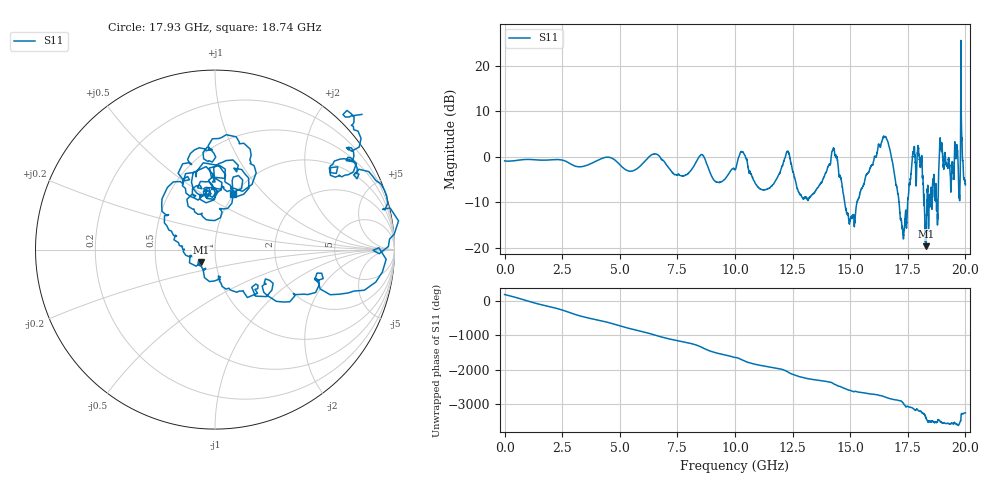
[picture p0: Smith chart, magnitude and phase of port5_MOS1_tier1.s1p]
! Created with skrf 1.8.0 (http://scikit-rf.org).
# GHz S RI R 50.0
!freq ReS11 ImS11
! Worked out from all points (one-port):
!   10001 points, 1 MHz to 20 GHz, reference 50 ohm
!   lowest |S11| = -19.6 dB at 18.28 GHz (marker M1), VSWR 1.23, Z = 42.4 - j5.99 ohm
!   |S11| at or under -10 dB: 14.76 GHz to 15.29 GHz (528.8 MHz wide, 3.52 % of centre); 17.12 GHz to 17.49 GHz (373.1 MHz wide, 2.16 % of centre); 18.22 GHz to 18.33 GHz (113.4 MHz wide, 0.621 % of centre) (the widest 3 of 16)
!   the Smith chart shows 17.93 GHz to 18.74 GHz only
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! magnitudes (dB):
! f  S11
! 1 MHz  -0.9
! 2.501 GHz  -0.7
! 5.001 GHz  -1.7
! 6.563 GHz  0.7
! 7.501 GHz  -4.0
! 8.543 GHz  0.5
! 9.211 GHz  -5.5
! 10 GHz  -2.9
! 10.34 GHz  1.0
! 11.24 GHz  -7.3
! 12.26 GHz  1.1
! 12.5 GHz  -3.1
! 12.82 GHz  -8.3
! 13.2 GHz  -9.1
! 14.3 GHz  1.8
! 15 GHz  -13.9
! 16.49 GHz  4.4
! 16.8 GHz  -0.3
! 17.26 GHz  -15.2
! 17.5 GHz  -9.5
! 17.72 GHz  1.0
! 18.01 GHz  -0.5
! 18.28 GHz  -19.6
! 18.75 GHz  -10.9
! 18.95 GHz  2.1
! 19.42 GHz  -1.6
! 19.88 GHz  -0.8
! 20 GHz  -6.2
